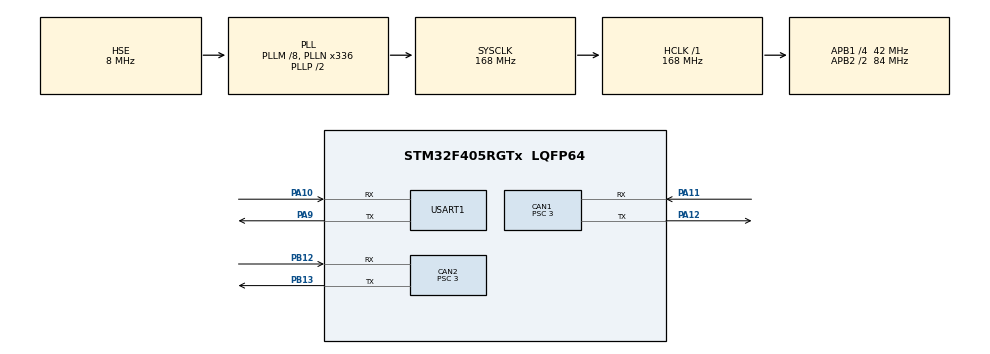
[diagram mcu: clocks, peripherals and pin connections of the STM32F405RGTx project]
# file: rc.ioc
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CAN1.ABOM=ENABLE
CAN1.BS1=CAN_BS1_9TQ
CAN1.BS2=CAN_BS2_4TQ
CAN1.CalculateBaudRate=1000000
CAN1.CalculateTimeBit=1000
CAN1.CalculateTimeQuantum=71.42857142857143
CAN1.Prescaler=3
CAN2.ABOM=ENABLE
CAN2.BS1=CAN_BS1_9TQ
CAN2.BS2=CAN_BS2_4TQ
CAN2.CalculateBaudRate=1000000
CAN2.CalculateTimeBit=1000
CAN2.CalculateTimeQuantum=71.42857142857143
CAN2.Prescaler=3
Dma.Request0=USART1_RX
Dma.Request1=USART1_TX
Dma.USART1_RX.0.Direction=DMA_PERIPH_TO_MEMORY
Dma.USART1_RX.0.FIFOMode=DMA_FIFOMODE_DISABLE
Dma.USART1_RX.0.Instance=DMA2_Stream2
Dma.USART1_RX.0.MemDataAlignment=DMA_MDATAALIGN_BYTE
Dma.USART1_RX.0.MemInc=DMA_MINC_ENABLE
Dma.USART1_RX.0.Mode=DMA_CIRCULAR
Dma.USART1_RX.0.PeriphDataAlignment=DMA_PDATAALIGN_BYTE
Dma.USART1_RX.0.PeriphInc=DMA_PINC_DISABLE
Dma.USART1_RX.0.Priority=DMA_PRIORITY_LOW
Dma.USART1_TX.1.Direction=DMA_MEMORY_TO_PERIPH
Dma.USART1_TX.1.FIFOMode=DMA_FIFOMODE_DISABLE
Dma.USART1_TX.1.Instance=DMA2_Stream7
Dma.USART1_TX.1.MemDataAlignment=DMA_MDATAALIGN_BYTE
Dma.USART1_TX.1.MemInc=DMA_MINC_ENABLE
Dma.USART1_TX.1.Mode=DMA_NORMAL
Dma.USART1_TX.1.PeriphDataAlignment=DMA_PDATAALIGN_BYTE
Dma.USART1_TX.1.PeriphInc=DMA_PINC_DISABLE
Dma.USART1_TX.1.Priority=DMA_PRIORITY_LOW
FREERTOS.Tasks01=defaultTask,24,128,StartDefaultTask,Default,NULL,Dynamic,NULL,NULL;PidTask,8,1024,Pid_Task,Default,NULL,Dynamic,NULL,NULL
Mcu.Family=STM32F4
Mcu.Name=STM32F405RGTx
Mcu.Package=LQFP64
NVIC.CAN1_RX0_IRQn=true\:5\:0\:false\:false\:true\:true\:true\:true\:true
NVIC.CAN2_RX0_IRQn=true\:5\:0\:false\:false\:true\:true\:true\:true\:true
NVIC.DMA2_Stream2_IRQn=true\:5\:0\:false\:false\:true\:true\:false\:true\:true
NVIC.DMA2_Stream7_IRQn=true\:5\:0\:false\:false\:true\:true\:false\:true\:true
NVIC.PriorityGroup=NVIC_PRIORITYGROUP_4
NVIC.TIM2_IRQn=true\:15\:0\:false\:false\:true\:false\:false\:true\:true
NVIC.TimeBase=TIM2_IRQn
NVIC.TimeBaseIP=TIM2
NVIC.USART1_IRQn=true\:5\:0\:false\:false\:true\:true\:true\:true\:true
PA10.Mode=Asynchronous
PA10.Signal=USART1_RX
PA11.Mode=CAN_Activate
PA11.Signal=CAN1_RX
PA12.Mode=CAN_Activate
PA12.Signal=CAN1_TX
PA13.Mode=Serial_Wire
PA13.Signal=SYS_JTMS-SWDIO
PA14.Mode=Serial_Wire
PA14.Signal=SYS_JTCK-SWCLK
PA9.Mode=Asynchronous
PA9.Signal=USART1_TX
PB12.Mode=CAN_Activate
PB12.Signal=CAN2_RX
PB13.Mode=CAN_Activate
PB13.Signal=CAN2_TX
PH0-OSC_IN.Mode=HSE-External-Oscillator
PH0-OSC_IN.Signal=RCC_OSC_IN
PH1-OSC_OUT.Mode=HSE-External-Oscillator
PH1-OSC_OUT.Signal=RCC_OSC_OUT
ProjectManager.HeapSize=0x200
ProjectManager.StackSize=0x400
ProjectManager.TargetToolchain=STM32CubeIDE
RCC.48MHZClocksFreq_Value=84000000
RCC.AHBFreq_Value=168000000
RCC.APB1CLKDivider=RCC_HCLK_DIV4
RCC.APB1Freq_Value=42000000
RCC.APB1TimFreq_Value=84000000
RCC.APB2CLKDivider=RCC_HCLK_DIV2
RCC.APB2Freq_Value=84000000
RCC.APB2TimFreq_Value=168000000
RCC.CortexFreq_Value=168000000
RCC.HCLKFreq_Value=168000000
RCC.HSE_VALUE=8000000
RCC.HSI_VALUE=16000000
RCC.LSE_VALUE=32768
RCC.PLLM=8
RCC.PLLN=336
RCC.PLLSourceVirtual=RCC_PLLSOURCE_HSE
RCC.SYSCLKFreq_VALUE=168000000
RCC.SYSCLKSource=RCC_SYSCLKSOURCE_PLLCLK
RCC.VCOOutputFreq_Value=336000000
USART1.VirtualMode=VM_ASYNC
VP_FREERTOS_VS_CMSIS_V2.Mode=CMSIS_V2
VP_SYS_VS_tim2.Mode=TIM2
board=custom

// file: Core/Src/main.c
/* USER CODE BEGIN Header */
/**
  ******************************************************************************
  * @file           : main.c
  * @brief          : Main program body
  ******************************************************************************
  * @attention
  *
  * Copyright (c) 2024 STMicroelectronics.
  * All rights reserved.
  *
  * This software is licensed under terms that can be found in the LICENSE file
  * in the root directory of this software component.
  * If no LICENSE file comes with this software, it is provided AS-IS.
  *
  ******************************************************************************
  */
/* USER CODE END Header */
#include "main.h"
#include "cmsis_os.h"
#include "can.h"
#include "dma.h"
#include "usart.h"
#include "gpio.h"

/* USER CODE BEGIN Includes */
#include "debug.h"
#include "roboinit.h"
#include "drv_can.h"
#include "PID_MATLAB.h"
/* USER CODE END Includes */

void SystemClock_Config(void);
void MX_FREERTOS_Init(void);

int main(void)
{

  /* MCU Configuration--------------------------------------------------------*/

  /* Reset of all peripherals, Initializes the Flash interface and the Systick. */
  HAL_Init();

  /* Configure the system clock */
  SystemClock_Config();

  /* Initialize all configured peripherals */
  MX_GPIO_Init();
  MX_DMA_Init();
  MX_CAN1_Init();
  MX_CAN2_Init();
  MX_USART1_UART_Init();
  /* USER CODE BEGIN 2 */
  Set_Target_UartInit();
  CAN_All_Init();
  HAL_Delay(100);

  roboinit();
  PID_MATLAB_initialize();
  /* USER CODE END 2 */

  /* Init scheduler */
  osKernelInitialize();

  /* Call init function for freertos objects (in cmsis_os2.c) */
  MX_FREERTOS_Init();

  /* Start scheduler */
  osKernelStart();

  /* We should never get here as control is now taken by the scheduler */

  /* Infinite loop */
  while (1)
  {

  }
}

void SystemClock_Config(void)
{
  RCC_OscInitTypeDef RCC_OscInitStruct = {0};
  RCC_ClkInitTypeDef RCC_ClkInitStruct = {0};

  /** Configure the main internal regulator output voltage
  */
  __HAL_RCC_PWR_CLK_ENABLE();
  __HAL_PWR_VOLTAGESCALING_CONFIG(PWR_REGULATOR_VOLTAGE_SCALE1);

  /** Initializes the RCC Oscillators according to the specified parameters
  * in the RCC_OscInitTypeDef structure.
  */
  RCC_OscInitStruct.OscillatorType = RCC_OSCILLATORTYPE_HSE;
  RCC_OscInitStruct.HSEState = RCC_HSE_ON;
  RCC_OscInitStruct.PLL.PLLState = RCC_PLL_ON;
  RCC_OscInitStruct.PLL.PLLSource = RCC_PLLSOURCE_HSE;
  RCC_OscInitStruct.PLL.PLLM = 8;
  RCC_OscInitStruct.PLL.PLLN = 336;
  RCC_OscInitStruct.PLL.PLLP = RCC_PLLP_DIV2;
  RCC_OscInitStruct.PLL.PLLQ = 4;
  if (HAL_RCC_OscConfig(&RCC_OscInitStruct) != HAL_OK)
  {
    Error_Handler();
  }

  /** Initializes the CPU, AHB and APB buses clocks
  */
  RCC_ClkInitStruct.ClockType = RCC_CLOCKTYPE_HCLK|RCC_CLOCKTYPE_SYSCLK
                              |RCC_CLOCKTYPE_PCLK1|RCC_CLOCKTYPE_PCLK2;
  RCC_ClkInitStruct.SYSCLKSource = RCC_SYSCLKSOURCE_PLLCLK;
  RCC_ClkInitStruct.AHBCLKDivider = RCC_SYSCLK_DIV1;
  RCC_ClkInitStruct.APB1CLKDivider = RCC_HCLK_DIV4;
  RCC_ClkInitStruct.APB2CLKDivider = RCC_HCLK_DIV2;

  if (HAL_RCC_ClockConfig(&RCC_ClkInitStruct, FLASH_LATENCY_5) != HAL_OK)
  {
    Error_Handler();
  }
}

void HAL_TIM_PeriodElapsedCallback(TIM_HandleTypeDef *htim)
{
  if (htim->Instance == TIM2) {
    HAL_IncTick();
  }
}

void Error_Handler(void)
{
  __disable_irq();
  while (1)
  {
  }
}

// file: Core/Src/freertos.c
/* USER CODE BEGIN Header */
/**
  ******************************************************************************
  * File Name          : freertos.c
  * Description        : Code for freertos applications
  ******************************************************************************
  * @attention
  *
  * Copyright (c) 2024 STMicroelectronics.
  * All rights reserved.
  *
  * This software is licensed under terms that can be found in the LICENSE file
  * in the root directory of this software component.
  * If no LICENSE file comes with this software, it is provided AS-IS.
  *
  ******************************************************************************
  */
/* USER CODE END Header */

#include "FreeRTOS.h"
#include "task.h"
#include "main.h"
#include "cmsis_os.h"

/* USER CODE BEGIN Includes */
#include "debug.h"
#include "pid_task.h"
/* USER CODE END Includes */

/* Definitions for defaultTask */
osThreadId_t defaultTaskHandle;
const osThreadAttr_t defaultTask_attributes = {
  .name = "defaultTask",
  .stack_size = 128 * 4,
  .priority = (osPriority_t) osPriorityNormal,
};
/* Definitions for PidTask */
osThreadId_t PidTaskHandle;
const osThreadAttr_t PidTask_attributes = {
  .name = "PidTask",
  .stack_size = 1024 * 4,
  .priority = (osPriority_t) osPriorityLow,
};

void StartDefaultTask(void *argument);
void Pid_Task(void *argument);

void MX_FREERTOS_Init(void); /* (MISRA C 2004 rule 8.1) */

void MX_FREERTOS_Init(void) {

  /* Create the thread(s) */
  /* creation of defaultTask */
  defaultTaskHandle = osThreadNew(StartDefaultTask, NULL, &defaultTask_attributes);

  /* creation of PidTask */
  PidTaskHandle = osThreadNew(Pid_Task, NULL, &PidTask_attributes);

}

void StartDefaultTask(void *argument)
{
  for(;;)
  {
    osDelay(1);
  }
}

void Pid_Task(void *argument)
{
  /* USER CODE BEGIN Pid_Task */
  /* Infinite loop */
  portTickType CurrentTime1;
  for (;;)

  {
    CurrentTime1=xTaskGetTickCount();

     pid_task0();
    //pid_task1();
    //pid_task2();
    vTaskDelayUntil(&CurrentTime1,5);
  }
  /* USER CODE END Pid_Task */
}
